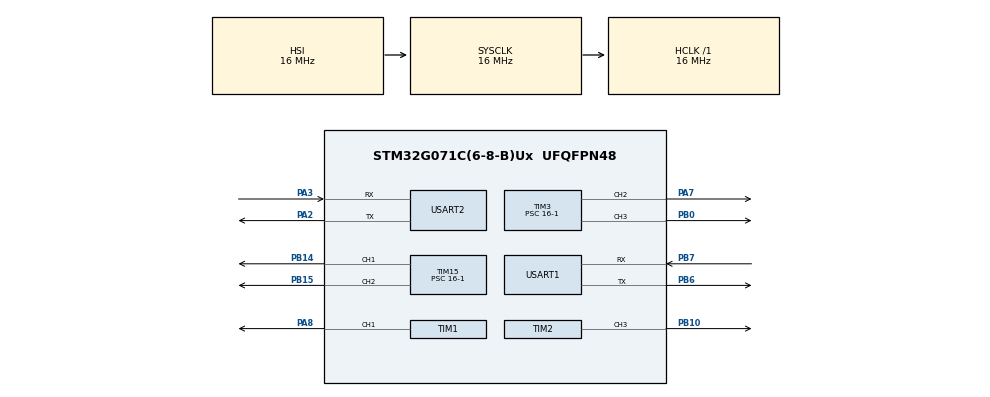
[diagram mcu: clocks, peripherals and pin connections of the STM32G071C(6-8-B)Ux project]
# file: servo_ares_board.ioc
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Mcu.Family=STM32G0
Mcu.Name=STM32G071C(6-8-B)Ux
Mcu.Package=UFQFPN48
PA2.Mode=Asynchronous
PA2.Signal=USART2_TX
PA3.Mode=Asynchronous
PA3.Signal=USART2_RX
PA7.Signal=S_TIM3_CH2
PA8.Signal=S_TIM1_CH1
PB0.Signal=S_TIM3_CH3
PB10.Signal=S_TIM2_CH3
PB14.Signal=S_TIM15_CH1
PB15.Signal=S_TIM15_CH2
PB6.Mode=Asynchronous
PB6.Signal=USART1_TX
PB7.Mode=Asynchronous
PB7.Signal=USART1_RX
ProjectManager.HeapSize=0x200
ProjectManager.StackSize=0x400
ProjectManager.TargetToolchain=STM32CubeIDE
RCC.AHBFreq_Value=16000000
RCC.CortexFreq_Value=16000000
RCC.EXTERNAL_CLOCK_VALUE=48000
RCC.HCLKFreq_Value=16000000
RCC.HSE_VALUE=8000000
RCC.HSI_VALUE=16000000
RCC.LSE_VALUE=32768
RCC.PLLQ=RCC_PLLQ_DIV4
RCC.SYSCLKFreq_VALUE=16000000
RCC.VCOOutputFreq_Value=128000000
SH.S_TIM15_CH1.0=TIM15_CH1,PWM Generation1 CH1
SH.S_TIM15_CH2.0=TIM15_CH2,PWM Generation2 CH2
SH.S_TIM1_CH1.0=TIM1_CH1,PWM Generation1 CH1
SH.S_TIM2_CH3.0=TIM2_CH3,PWM Generation3 CH3
SH.S_TIM3_CH2.0=TIM3_CH2,PWM Generation2 CH2
SH.S_TIM3_CH3.0=TIM3_CH3,PWM Generation3 CH3
TIM1.AutoReloadPreload=TIM_AUTORELOAD_PRELOAD_ENABLE
TIM1.Channel-PWM\ Generation1\ CH1=TIM_CHANNEL_1
TIM1.Period=3002-1
TIM1.Prescaler=16-1
TIM15.AutoReloadPreload=TIM_AUTORELOAD_PRELOAD_ENABLE
TIM15.Channel-PWM\ Generation1\ CH1=TIM_CHANNEL_1
TIM15.Channel-PWM\ Generation2\ CH2=TIM_CHANNEL_2
TIM15.Period=3002-1
TIM15.Prescaler=16-1
TIM2.AutoReloadPreload=TIM_AUTORELOAD_PRELOAD_ENABLE
TIM2.Channel-PWM\ Generation3\ CH3=TIM_CHANNEL_3
TIM2.Period=3002-1
TIM2.Prescaler=16-1
TIM3.AutoReloadPreload=TIM_AUTORELOAD_PRELOAD_ENABLE
TIM3.Channel-PWM\ Generation2\ CH2=TIM_CHANNEL_2
TIM3.Channel-PWM\ Generation3\ CH3=TIM_CHANNEL_3
TIM3.Period=3002-1
TIM3.Prescaler=16-1
USART1.VirtualMode-Asynchronous=VM_ASYNC
USART2.VirtualMode-Asynchronous=VM_ASYNC
VP_TIM15_VS_ClockSourceINT.Mode=Internal
VP_TIM1_VS_ClockSourceINT.Mode=Internal
VP_TIM2_VS_ClockSourceINT.Mode=Internal
VP_TIM3_VS_ClockSourceINT.Mode=Internal
board=custom

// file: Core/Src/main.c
/* USER CODE BEGIN Header */
/**
 ******************************************************************************
 * @file           : main.c
 * @brief          : Main program body
 ******************************************************************************
 * @attention
 *
 * Copyright (c) 2025 STMicroelectronics.
 * All rights reserved.
 *
 * This software is licensed under terms that can be found in the LICENSE file
 * in the root directory of this software component.
 * If no LICENSE file comes with this software, it is provided AS-IS.
 *
 ******************************************************************************
 */
/* USER CODE END Header */
#include "main.h"

/* USER CODE BEGIN Includes */
#include <stdlib.h>
#include <string.h>
#include <stdio.h>
/* USER CODE END Includes */

TIM_HandleTypeDef htim1;
TIM_HandleTypeDef htim2;
TIM_HandleTypeDef htim3;
TIM_HandleTypeDef htim15;

UART_HandleTypeDef huart1;
UART_HandleTypeDef huart2;

/* USER CODE BEGIN PV */
char rx_data[12];

#define SERVO_MIN_M 1200 // servo milieu
#define SERVO_MAX_M 2000

#define SERVO_MIN_G 1200
#define SERVO_MAX_G 2200

#define SERVO_MIN_D 1000
#define SERVO_MAX_D 1900
/* USER CODE END PV */

void SystemClock_Config(void);
static void MX_GPIO_Init(void);
static void MX_TIM2_Init(void);
static void MX_USART1_UART_Init(void);
static void MX_TIM3_Init(void);
static void MX_USART2_UART_Init(void);
static void MX_TIM15_Init(void);
static void MX_TIM1_Init(void);

int main(void)
{

	/* MCU Configuration--------------------------------------------------------*/

	/* Reset of all peripherals, Initializes the Flash interface and the Systick. */
	HAL_Init();

	/* Configure the system clock */
	SystemClock_Config();

	/* Initialize all configured peripherals */
	MX_GPIO_Init();
	MX_TIM2_Init();
	MX_USART1_UART_Init();
	MX_TIM3_Init();
	MX_USART2_UART_Init();
	MX_TIM15_Init();
	MX_TIM1_Init();
	/* USER CODE BEGIN 2 */
	HAL_TIM_PWM_Start(&htim3, TIM_CHANNEL_2);//PA7
	HAL_TIM_PWM_Start(&htim3, TIM_CHANNEL_3);//PB0
	HAL_TIM_PWM_Start(&htim2, TIM_CHANNEL_3);//PB10
	HAL_TIM_PWM_Start(&htim15, TIM_CHANNEL_1);//PB14
	HAL_TIM_PWM_Start(&htim15, TIM_CHANNEL_2);//PB15
	HAL_TIM_PWM_Start(&htim1, TIM_CHANNEL_1);//PA8
	HAL_UART_Receive_IT(&huart1, (uint8_t *)rx_data, sizeof(rx_data));
	/* USER CODE END 2 */

	/* Infinite loop */
	/* USER CODE BEGIN WHILE */
	while (1)
	{
		//debug
		char message[14]={0};; // 12 caractères de rx_data + 2 pour "\r\n"
		memcpy(message, rx_data, 12); // Copier rx_data dans message
		message[12] = '\r'; // Ajouter retour chariot
		message[13] = '\n'; // Ajouter nouvelle ligne
		HAL_UART_Transmit(&huart2, (uint8_t *)message, sizeof(message), HAL_MAX_DELAY);

		// Set all to '0' for 1 second
		memset(rx_data, '0', sizeof(rx_data)); // Fill rx_data with '0'

		//première pince
		if (rx_data[0] == '0') { // PA7 (TIM3 Channel 2) milieu
			TIM3->CCR2 = SERVO_MAX_M;
		} else {
			TIM3->CCR2 = SERVO_MIN_M;
		}
		if (rx_data[1] == '0') { // PB0 (TIM3 Channel 3) droit
			TIM3->CCR3 = SERVO_MIN_D;
		} else {
			TIM3->CCR3 = SERVO_MAX_D;
		}
		HAL_Delay(100); // delai pour que les 2 pinces ne se touchent pas
		if (rx_data[2] == '0') { // PB10 (TIM2 Channel 3)gauche
			TIM2->CCR3 = SERVO_MAX_G;
		} else {
			TIM2->CCR3 = SERVO_MIN_G;
		}
		//deuxieme pince
		if (rx_data[3] == '0') { // PB14 milieu
			TIM15->CCR1 = SERVO_MAX_M;
		} else {
			TIM15->CCR1 = SERVO_MIN_M;
		}
		if (rx_data[4] == '0') { // PB15 droit
			TIM15->CCR2 = SERVO_MIN_D;
		} else {
			TIM15->CCR2 = SERVO_MAX_D;
		}
		HAL_Delay(100); // delai pour que les 2 pinces ne se touchent pas
		if (rx_data[5] == '0') { // PA8 gauche
			TIM1->CCR1 = SERVO_MAX_G;
		} else {
			TIM1->CCR1 = SERVO_MIN_G;
		}

		HAL_Delay(5000);

		// Set all to '1' for 1 second
		memset(rx_data, '1', sizeof(rx_data)); // Fill rx_data with '1'

		//première pince
		if (rx_data[0] == '0') { // PA7 (TIM3 Channel 2)
			TIM3->CCR2 = SERVO_MAX_M;
		} else {
			TIM3->CCR2 = SERVO_MIN_M;
		}
		HAL_Delay(100);
		if (rx_data[1] == '0') { // PB0 (TIM3 Channel 3)
			TIM3->CCR3 = SERVO_MIN_D;
		} else {
			TIM3->CCR3 = SERVO_MAX_D;
		}
		if (rx_data[2] == '0') { // PB10 (TIM2 Channel 3)
			TIM2->CCR3 = SERVO_MAX_G;
		} else {
			TIM2->CCR3 = SERVO_MIN_G;
		}
		//deuxieme pince
		if (rx_data[3] == '0') { // PB14 milieu
			TIM15->CCR1 = SERVO_MAX_M;
		} else {
			TIM15->CCR1 = SERVO_MIN_M;
		}
		HAL_Delay(100); // delai pour que les 2 pinces ne se touchent pas
		if (rx_data[4] == '0') { // PB15 droit
			TIM15->CCR2 = SERVO_MIN_D;
		} else {
			TIM15->CCR2 = SERVO_MAX_D;
		}

		if (rx_data[5] == '0') { // PA8 gauche
			TIM1->CCR1 = SERVO_MAX_G;
		} else {
			TIM1->CCR1 = SERVO_MIN_G;
		}

		HAL_Delay(5000);

		//		// code servos uart
		//		if (rx_data[0] == '0') { // PA7
		//		    TIM3->CCR2 = 2000;
		//		} else {
		//		    TIM3->CCR2 = 1200;
		//		}
		//		if (rx_data[1] == '0') { // PB0
		//		    TIM3->CCR3 = 2000;
		//		} else {
		//		    TIM3->CCR3 = 1200;
		//		}
		//		if (rx_data[2] == '0') { // PB10
		//		    TIM2->CCR3 = 2000;
		//		} else {
		//		    TIM2->CCR3 = 1200;
		//		}

		/* USER CODE END WHILE */

	}
}

void SystemClock_Config(void)
{
	RCC_OscInitTypeDef RCC_OscInitStruct = {0};
	RCC_ClkInitTypeDef RCC_ClkInitStruct = {0};

	/** Configure the main internal regulator output voltage
	 */
	HAL_PWREx_ControlVoltageScaling(PWR_REGULATOR_VOLTAGE_SCALE1);

	/** Initializes the RCC Oscillators according to the specified parameters
	 * in the RCC_OscInitTypeDef structure.
	 */
	RCC_OscInitStruct.OscillatorType = RCC_OSCILLATORTYPE_HSI;
	RCC_OscInitStruct.HSIState = RCC_HSI_ON;
	RCC_OscInitStruct.HSIDiv = RCC_HSI_DIV1;
	RCC_OscInitStruct.HSICalibrationValue = RCC_HSICALIBRATION_DEFAULT;
	RCC_OscInitStruct.PLL.PLLState = RCC_PLL_NONE;
	if (HAL_RCC_OscConfig(&RCC_OscInitStruct) != HAL_OK)
	{
		Error_Handler();
	}

	/** Initializes the CPU, AHB and APB buses clocks
	 */
	RCC_ClkInitStruct.ClockType = RCC_CLOCKTYPE_HCLK|RCC_CLOCKTYPE_SYSCLK
			|RCC_CLOCKTYPE_PCLK1;
	RCC_ClkInitStruct.SYSCLKSource = RCC_SYSCLKSOURCE_HSI;
	RCC_ClkInitStruct.AHBCLKDivider = RCC_SYSCLK_DIV1;
	RCC_ClkInitStruct.APB1CLKDivider = RCC_HCLK_DIV1;

	if (HAL_RCC_ClockConfig(&RCC_ClkInitStruct, FLASH_LATENCY_0) != HAL_OK)
	{
		Error_Handler();
	}
}

static void MX_TIM1_Init(void)
{

	TIM_ClockConfigTypeDef sClockSourceConfig = {0};
	TIM_MasterConfigTypeDef sMasterConfig = {0};
	TIM_OC_InitTypeDef sConfigOC = {0};
	TIM_BreakDeadTimeConfigTypeDef sBreakDeadTimeConfig = {0};

	htim1.Instance = TIM1;
	htim1.Init.Prescaler = 16-1;
	htim1.Init.CounterMode = TIM_COUNTERMODE_UP;
	htim1.Init.Period = 3002-1;
	htim1.Init.ClockDivision = TIM_CLOCKDIVISION_DIV1;
	htim1.Init.RepetitionCounter = 0;
	htim1.Init.AutoReloadPreload = TIM_AUTORELOAD_PRELOAD_ENABLE;
	if (HAL_TIM_Base_Init(&htim1) != HAL_OK)
	{
		Error_Handler();
	}
	sClockSourceConfig.ClockSource = TIM_CLOCKSOURCE_INTERNAL;
	if (HAL_TIM_ConfigClockSource(&htim1, &sClockSourceConfig) != HAL_OK)
	{
		Error_Handler();
	}
	if (HAL_TIM_PWM_Init(&htim1) != HAL_OK)
	{
		Error_Handler();
	}
	sMasterConfig.MasterOutputTrigger = TIM_TRGO_RESET;
	sMasterConfig.MasterOutputTrigger2 = TIM_TRGO2_RESET;
	sMasterConfig.MasterSlaveMode = TIM_MASTERSLAVEMODE_DISABLE;
	if (HAL_TIMEx_MasterConfigSynchronization(&htim1, &sMasterConfig) != HAL_OK)
	{
		Error_Handler();
	}
	sConfigOC.OCMode = TIM_OCMODE_PWM1;
	sConfigOC.Pulse = 0;
	sConfigOC.OCPolarity = TIM_OCPOLARITY_HIGH;
	sConfigOC.OCNPolarity = TIM_OCNPOLARITY_HIGH;
	sConfigOC.OCFastMode = TIM_OCFAST_DISABLE;
	sConfigOC.OCIdleState = TIM_OCIDLESTATE_RESET;
	sConfigOC.OCNIdleState = TIM_OCNIDLESTATE_RESET;
	if (HAL_TIM_PWM_ConfigChannel(&htim1, &sConfigOC, TIM_CHANNEL_1) != HAL_OK)
	{
		Error_Handler();
	}
	sBreakDeadTimeConfig.OffStateRunMode = TIM_OSSR_DISABLE;
	sBreakDeadTimeConfig.OffStateIDLEMode = TIM_OSSI_DISABLE;
	sBreakDeadTimeConfig.LockLevel = TIM_LOCKLEVEL_OFF;
	sBreakDeadTimeConfig.DeadTime = 0;
	sBreakDeadTimeConfig.BreakState = TIM_BREAK_DISABLE;
	sBreakDeadTimeConfig.BreakPolarity = TIM_BREAKPOLARITY_HIGH;
	sBreakDeadTimeConfig.BreakFilter = 0;
	sBreakDeadTimeConfig.BreakAFMode = TIM_BREAK_AFMODE_INPUT;
	sBreakDeadTimeConfig.Break2State = TIM_BREAK2_DISABLE;
	sBreakDeadTimeConfig.Break2Polarity = TIM_BREAK2POLARITY_HIGH;
	sBreakDeadTimeConfig.Break2Filter = 0;
	sBreakDeadTimeConfig.Break2AFMode = TIM_BREAK_AFMODE_INPUT;
	sBreakDeadTimeConfig.AutomaticOutput = TIM_AUTOMATICOUTPUT_DISABLE;
	if (HAL_TIMEx_ConfigBreakDeadTime(&htim1, &sBreakDeadTimeConfig) != HAL_OK)
	{
		Error_Handler();
	}
	HAL_TIM_MspPostInit(&htim1);

}

static void MX_TIM2_Init(void)
{

	TIM_ClockConfigTypeDef sClockSourceConfig = {0};
	TIM_MasterConfigTypeDef sMasterConfig = {0};
	TIM_OC_InitTypeDef sConfigOC = {0};

	htim2.Instance = TIM2;
	htim2.Init.Prescaler = 16-1;
	htim2.Init.CounterMode = TIM_COUNTERMODE_UP;
	htim2.Init.Period = 3002-1;
	htim2.Init.ClockDivision = TIM_CLOCKDIVISION_DIV1;
	htim2.Init.AutoReloadPreload = TIM_AUTORELOAD_PRELOAD_ENABLE;
	if (HAL_TIM_Base_Init(&htim2) != HAL_OK)
	{
		Error_Handler();
	}
	sClockSourceConfig.ClockSource = TIM_CLOCKSOURCE_INTERNAL;
	if (HAL_TIM_ConfigClockSource(&htim2, &sClockSourceConfig) != HAL_OK)
	{
		Error_Handler();
	}
	if (HAL_TIM_PWM_Init(&htim2) != HAL_OK)
	{
		Error_Handler();
	}
	sMasterConfig.MasterOutputTrigger = TIM_TRGO_RESET;
	sMasterConfig.MasterSlaveMode = TIM_MASTERSLAVEMODE_DISABLE;
	if (HAL_TIMEx_MasterConfigSynchronization(&htim2, &sMasterConfig) != HAL_OK)
	{
		Error_Handler();
	}
	sConfigOC.OCMode = TIM_OCMODE_PWM1;
	sConfigOC.Pulse = 0;
	sConfigOC.OCPolarity = TIM_OCPOLARITY_HIGH;
	sConfigOC.OCFastMode = TIM_OCFAST_DISABLE;
	if (HAL_TIM_PWM_ConfigChannel(&htim2, &sConfigOC, TIM_CHANNEL_3) != HAL_OK)
	{
		Error_Handler();
	}
	HAL_TIM_MspPostInit(&htim2);

}

static void MX_TIM3_Init(void)
{

	TIM_ClockConfigTypeDef sClockSourceConfig = {0};
	TIM_MasterConfigTypeDef sMasterConfig = {0};
	TIM_OC_InitTypeDef sConfigOC = {0};

	htim3.Instance = TIM3;
	htim3.Init.Prescaler = 16-1;
	htim3.Init.CounterMode = TIM_COUNTERMODE_UP;
	htim3.Init.Period = 3002-1;
	htim3.Init.ClockDivision = TIM_CLOCKDIVISION_DIV1;
	htim3.Init.AutoReloadPreload = TIM_AUTORELOAD_PRELOAD_ENABLE;
	if (HAL_TIM_Base_Init(&htim3) != HAL_OK)
	{
		Error_Handler();
	}
	sClockSourceConfig.ClockSource = TIM_CLOCKSOURCE_INTERNAL;
	if (HAL_TIM_ConfigClockSource(&htim3, &sClockSourceConfig) != HAL_OK)
	{
		Error_Handler();
	}
	if (HAL_TIM_PWM_Init(&htim3) != HAL_OK)
	{
		Error_Handler();
	}
	sMasterConfig.MasterOutputTrigger = TIM_TRGO_RESET;
	sMasterConfig.MasterSlaveMode = TIM_MASTERSLAVEMODE_DISABLE;
	if (HAL_TIMEx_MasterConfigSynchronization(&htim3, &sMasterConfig) != HAL_OK)
	{
		Error_Handler();
	}
	sConfigOC.OCMode = TIM_OCMODE_PWM1;
	sConfigOC.Pulse = 0;
	sConfigOC.OCPolarity = TIM_OCPOLARITY_HIGH;
	sConfigOC.OCFastMode = TIM_OCFAST_DISABLE;
	if (HAL_TIM_PWM_ConfigChannel(&htim3, &sConfigOC, TIM_CHANNEL_2) != HAL_OK)
	{
		Error_Handler();
	}
	if (HAL_TIM_PWM_ConfigChannel(&htim3, &sConfigOC, TIM_CHANNEL_3) != HAL_OK)
	{
		Error_Handler();
	}
	HAL_TIM_MspPostInit(&htim3);

}

static void MX_TIM15_Init(void)
{

	TIM_ClockConfigTypeDef sClockSourceConfig = {0};
	TIM_MasterConfigTypeDef sMasterConfig = {0};
	TIM_OC_InitTypeDef sConfigOC = {0};
	TIM_BreakDeadTimeConfigTypeDef sBreakDeadTimeConfig = {0};

	htim15.Instance = TIM15;
	htim15.Init.Prescaler = 16-1;
	htim15.Init.CounterMode = TIM_COUNTERMODE_UP;
	htim15.Init.Period = 3002-1;
	htim15.Init.ClockDivision = TIM_CLOCKDIVISION_DIV1;
	htim15.Init.RepetitionCounter = 0;
	htim15.Init.AutoReloadPreload = TIM_AUTORELOAD_PRELOAD_ENABLE;
	if (HAL_TIM_Base_Init(&htim15) != HAL_OK)
	{
		Error_Handler();
	}
	sClockSourceConfig.ClockSource = TIM_CLOCKSOURCE_INTERNAL;
	if (HAL_TIM_ConfigClockSource(&htim15, &sClockSourceConfig) != HAL_OK)
	{
		Error_Handler();
	}
	if (HAL_TIM_PWM_Init(&htim15) != HAL_OK)
	{
		Error_Handler();
	}
	sMasterConfig.MasterOutputTrigger = TIM_TRGO_RESET;
	sMasterConfig.MasterSlaveMode = TIM_MASTERSLAVEMODE_DISABLE;
	if (HAL_TIMEx_MasterConfigSynchronization(&htim15, &sMasterConfig) != HAL_OK)
	{
		Error_Handler();
	}
	sConfigOC.OCMode = TIM_OCMODE_PWM1;
	sConfigOC.Pulse = 0;
	sConfigOC.OCPolarity = TIM_OCPOLARITY_HIGH;
	sConfigOC.OCNPolarity = TIM_OCNPOLARITY_HIGH;
	sConfigOC.OCFastMode = TIM_OCFAST_DISABLE;
	sConfigOC.OCIdleState = TIM_OCIDLESTATE_RESET;
	sConfigOC.OCNIdleState = TIM_OCNIDLESTATE_RESET;
	if (HAL_TIM_PWM_ConfigChannel(&htim15, &sConfigOC, TIM_CHANNEL_1) != HAL_OK)
	{
		Error_Handler();
	}
	if (HAL_TIM_PWM_ConfigChannel(&htim15, &sConfigOC, TIM_CHANNEL_2) != HAL_OK)
	{
		Error_Handler();
	}
	sBreakDeadTimeConfig.OffStateRunMode = TIM_OSSR_DISABLE;
	sBreakDeadTimeConfig.OffStateIDLEMode = TIM_OSSI_DISABLE;
	sBreakDeadTimeConfig.LockLevel = TIM_LOCKLEVEL_OFF;
	sBreakDeadTimeConfig.DeadTime = 0;
	sBreakDeadTimeConfig.BreakState = TIM_BREAK_DISABLE;
	sBreakDeadTimeConfig.BreakPolarity = TIM_BREAKPOLARITY_HIGH;
	sBreakDeadTimeConfig.BreakFilter = 0;
	sBreakDeadTimeConfig.AutomaticOutput = TIM_AUTOMATICOUTPUT_DISABLE;
	if (HAL_TIMEx_ConfigBreakDeadTime(&htim15, &sBreakDeadTimeConfig) != HAL_OK)
	{
		Error_Handler();
	}
	HAL_TIM_MspPostInit(&htim15);

}

static void MX_USART1_UART_Init(void)
{

	huart1.Instance = USART1;
	huart1.Init.BaudRate = 115200;
	huart1.Init.WordLength = UART_WORDLENGTH_8B;
	huart1.Init.StopBits = UART_STOPBITS_1;
	huart1.Init.Parity = UART_PARITY_NONE;
	huart1.Init.Mode = UART_MODE_TX_RX;
	huart1.Init.HwFlowCtl = UART_HWCONTROL_NONE;
	huart1.Init.OverSampling = UART_OVERSAMPLING_16;
	huart1.Init.OneBitSampling = UART_ONE_BIT_SAMPLE_DISABLE;
	huart1.Init.ClockPrescaler = UART_PRESCALER_DIV1;
	huart1.AdvancedInit.AdvFeatureInit = UART_ADVFEATURE_NO_INIT;
	if (HAL_UART_Init(&huart1) != HAL_OK)
	{
		Error_Handler();
	}
	if (HAL_UARTEx_SetTxFifoThreshold(&huart1, UART_TXFIFO_THRESHOLD_1_8) != HAL_OK)
	{
		Error_Handler();
	}
	if (HAL_UARTEx_SetRxFifoThreshold(&huart1, UART_RXFIFO_THRESHOLD_1_8) != HAL_OK)
	{
		Error_Handler();
	}
	if (HAL_UARTEx_DisableFifoMode(&huart1) != HAL_OK)
	{
		Error_Handler();
	}

}

static void MX_USART2_UART_Init(void)
{

	huart2.Instance = USART2;
	huart2.Init.BaudRate = 115200;
	huart2.Init.WordLength = UART_WORDLENGTH_8B;
	huart2.Init.StopBits = UART_STOPBITS_1;
	huart2.Init.Parity = UART_PARITY_NONE;
	huart2.Init.Mode = UART_MODE_TX_RX;
	huart2.Init.HwFlowCtl = UART_HWCONTROL_NONE;
	huart2.Init.OverSampling = UART_OVERSAMPLING_16;
	huart2.Init.OneBitSampling = UART_ONE_BIT_SAMPLE_DISABLE;
	huart2.Init.ClockPrescaler = UART_PRESCALER_DIV1;
	huart2.AdvancedInit.AdvFeatureInit = UART_ADVFEATURE_NO_INIT;
	if (HAL_UART_Init(&huart2) != HAL_OK)
	{
		Error_Handler();
	}
	if (HAL_UARTEx_SetTxFifoThreshold(&huart2, UART_TXFIFO_THRESHOLD_1_8) != HAL_OK)
	{
		Error_Handler();
	}
	if (HAL_UARTEx_SetRxFifoThreshold(&huart2, UART_RXFIFO_THRESHOLD_1_8) != HAL_OK)
	{
		Error_Handler();
	}
	if (HAL_UARTEx_DisableFifoMode(&huart2) != HAL_OK)
	{
		Error_Handler();
	}

}

static void MX_GPIO_Init(void)
{

	/* GPIO Ports Clock Enable */
	__HAL_RCC_GPIOA_CLK_ENABLE();
	__HAL_RCC_GPIOB_CLK_ENABLE();

}

/* USER CODE BEGIN 4 */
void HAL_UART_RxCpltCallback(UART_HandleTypeDef *huart)
{
	if (huart == &huart1) {
		// Réactiver la réception immédiatement
		HAL_UART_Receive_IT(&huart1, (uint8_t *)rx_data, sizeof(rx_data));
	}
}
/* USER CODE END 4 */

void Error_Handler(void)
{
	__disable_irq();
	while (1)
	{
	}
}
